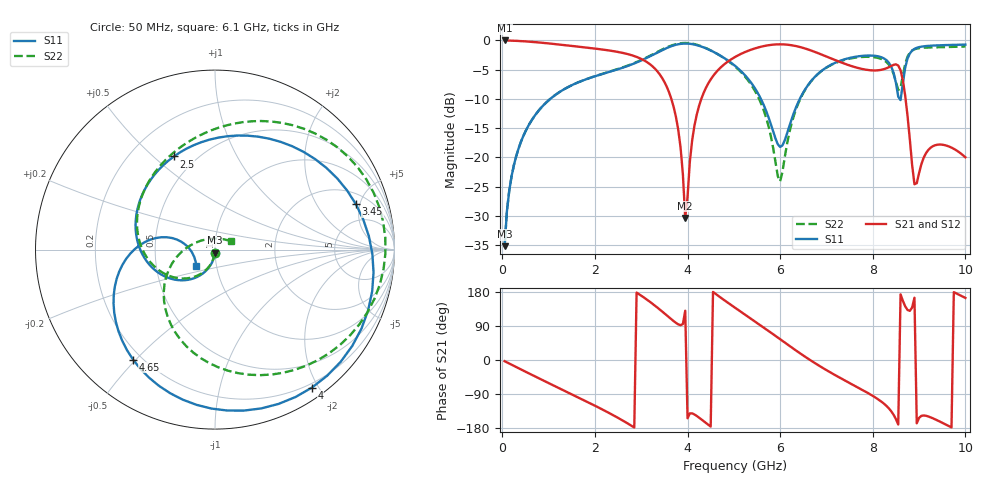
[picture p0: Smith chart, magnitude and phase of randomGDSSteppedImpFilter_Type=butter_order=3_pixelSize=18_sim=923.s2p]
! freq	dB(S11)	phase(S11)	dB(S12)	phase(S12)
!  dB(S21)	phase(S21)	dB(S22)	phase(S22)
!S-par simulation data
#  GHz  S  DB  R 50
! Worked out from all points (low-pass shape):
!   200 points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, 50 MHz to 10 GHz, reference 50 ohm
!   highest |S21| = -0.01 dB at 50 MHz (marker M1); lowest = -30.4 dB at 3.95 GHz (marker M2)
!   |S21| within 3 dB of the highest: start of sweep to 2.957 GHz; 4.989 GHz to 7.077 GHz (2.089 GHz wide, 34.6 % of centre)
!   lowest |S11| = -35.2 dB at 50 MHz (marker M3), VSWR 1.04, Z = 49.9 - j1.73 ohm
!   |S11| at or under -10 dB: start of sweep to 1.036 GHz; 5.583 GHz to 6.426 GHz (842.7 MHz wide, 14 % of centre); 8.582205 GHz to 8.603648 GHz (21.44 MHz wide, 0.25 % of centre)
!   |S22| runs from -35.2 to -0.4 dB; largest |S21 - S12| = 0
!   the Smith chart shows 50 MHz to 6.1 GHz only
!   S11 on the Smith chart (normalised r, x): 50 MHz: 1.00, -0.03; 2.5 GHz: 0.38, +0.58; 3.45 GHz: 2.91, +4.60; 4 GHz: 0.15, -1.92; 4.65 GHz: 0.17, -0.49; 6.1 GHz: 0.80, -0.15
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0.05  -35.19 -93.0  -0.01 -3.1  -0.01 -3.1  -35.19 -93.3
0.5  -15.56 -120.2  -0.16 -30.8  -0.16 -30.8  -15.57 -122.4
1.75  -6.82 165.7  -1.16 -105.4  -1.16 -105.4  -6.81 162.2
2.5  -4.92 113.8  -1.97 -152.7  -1.97 -152.7  -4.88 119.0
3.4  -1.87 24.1  -5.81 133.3  -5.81 133.3  -1.76 58.0
3.45  -1.67 17.8  -6.41 128.2  -6.41 128.2  -1.56 53.7
3.8  -0.66 -28.4  -15.31 94.0  -15.31 94.0  -0.55 19.7
3.95  -0.53 -48.4  -30.38 130.0  -30.38 130.0  -0.44 3.9
4  -0.54 -54.9  -26.80 -153.7  -26.80 -153.7  -0.45 -1.4
4.2  -0.81 -79.8  -12.66 -147.7  -12.66 -147.7  -0.74 -22.3
4.65  -2.34 -126.7  -5.15 170.6  -5.15 170.6  -2.34 -65.7
5.05  -4.51 -159.7  -2.73 136.0  -2.73 136.0  -4.63 -101.8
5.6  -10.27 167.0  -1.05 89.6  -1.05 89.6  -11.02 -156.4
5.95  -17.77 -173.4  -0.67 59.2  -0.67 59.2  -23.24 119.9
6.1  -17.07 -138.3  -0.69 46.0  -0.69 46.0  -19.95 27.9
6.7  -6.66 -138.6  -1.82 -4.3  -1.82 -4.3  -6.69 -56.3
7.45  -3.10 179.5  -4.15 -57.5  -4.15 -57.5  -3.20 -117.6
8.35  -3.84 126.2  -4.57 -128.0  -4.57 -128.0  -4.16 170.5
8.65  -7.31 167.7  -6.81 156.2  -6.81 156.2  -5.97 -166.5
8.9  -1.45 141.9  -24.59 164.3  -24.59 164.3  -1.52 159.7
9.45  -0.83 107.4  -17.81 -162.6  -17.81 -162.6  -1.17 102.2
10  -0.71 83.0  -19.99 163.8  -19.99 163.8  -1.04 50.8
